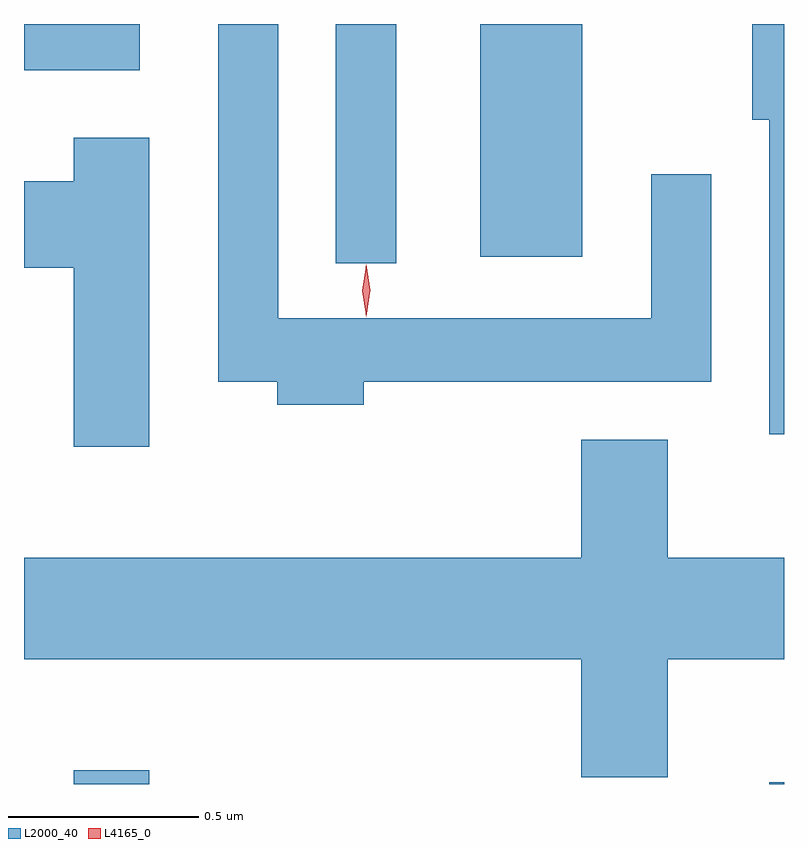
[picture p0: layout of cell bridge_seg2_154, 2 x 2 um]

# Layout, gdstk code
import gdstk
lib = gdstk.Library(unit=1e-6, precision=1e-09)
def R(c, l, rs):  # rectangles x0, y0, x1, y1
    for r in rs: c.add(gdstk.rectangle(r[:2], r[2:], *l))
def P(c, l, *ps):  # polygons
    for p in ps: c.add(gdstk.Polygon(p, *l))
L2000_40 = (2000, 40)
L4165_0 = (4165, 0)

bridge_seg2_154 = lib.new_cell('bridge_seg2_154')
R(bridge_seg2_154, L2000_40, [(1076.656,1107.928,1076.854,1107.964), (1078.486,1107.928,1078.525,1107.933), (1077.346,1109.298,1077.504,1109.928), (1077.726,1109.316,1077.994,1109.928), (1076.525,1109.806,1076.829,1109.928)])
P(bridge_seg2_154, L2000_40, [(1078.525,1109.928),(1078.441,1109.928),(1078.441,1109.676),(1078.486,1109.676),(1078.486,1108.848),(1078.525,1108.848)],
  [(1077.419,1108.986),(1078.334,1108.986),(1078.334,1109.533),(1078.176,1109.533),(1078.176,1109.154),(1077.194,1109.154),(1077.194,1109.928),(1077.036,1109.928),(1077.036,1108.986),(1077.191,1108.986),(1077.191,1108.926),(1077.419,1108.926)],
  [(1076.854,1109.629),(1076.656,1109.629),(1076.656,1109.514),(1076.525,1109.514),(1076.525,1109.286),(1076.656,1109.286),(1076.656,1108.816),(1076.854,1108.816)],
  [(1078.219,1108.256),(1078.525,1108.256),(1078.525,1108.524),(1078.219,1108.524),(1078.219,1108.834),(1077.991,1108.834),(1077.991,1108.524),(1076.525,1108.524),(1076.525,1108.256),(1077.991,1108.256),(1077.991,1107.946),(1078.219,1107.946)])
P(bridge_seg2_154, L4165_0, [(1077.426,1109.157),(1077.425,1109.158),(1077.416,1109.227),(1077.425,1109.296),(1077.426,1109.296),(1077.426,1109.296),(1077.436,1109.227),(1077.426,1109.158)],
  [(1077.425,1109.159),(1077.425,1109.16),(1077.415,1109.226),(1077.425,1109.292),(1077.425,1109.293),(1077.426,1109.292),(1077.435,1109.226),(1077.426,1109.16)])

lib.write_gds('bridge_seg2_154.gds')
